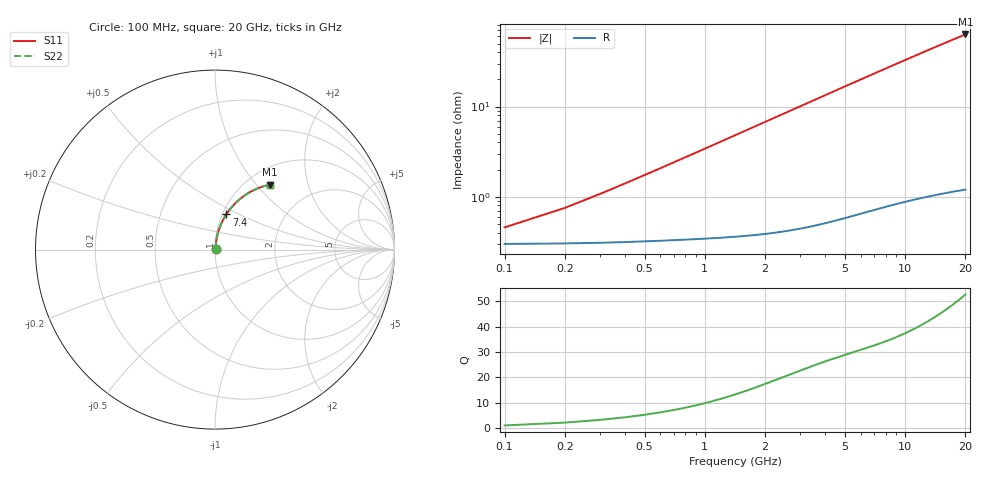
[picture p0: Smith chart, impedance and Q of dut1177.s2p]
! Touchstone file exported from HFSS 2026.1.0
!  File:  C:/ffzhzh/LocalFiles/Ansys_Project_Files/temp_train_BSMRDL_1177_1783176064_18472.aedt
!  Generated:  10:42:18 PM Jul  4, 2026
!  Design:  BSMRDL
!  Project:  temp_train_BSMRDL_1177_1783176064_18472
! Variables:
!  h_bsmrdl = 5.08um
!  h_ox = 20um
!  h_rdl = 5um
!  h_sub = 80um
!  h_tmrdl = 5um
!  h_tsv = 80um
!  h_via = 3um
!  l_bsmrdl = 464.41um
!  l_sub = 864.41um
!  l_tmrdl = 200um
!  m_sub = 200um
!  pitch = 58.47um
!  r_tsv = 6um
!  s_tmrdl = 10um
!  w_bsmrdl = 11.01um
!  w_sub = 500um
!  w_tmrdl = 12um
!  x_tsv_center1 = 206um
!  x_tsv_center2 = 681.42um
!  x_tsv_center3 = 893.42um
!  x_tsv_center4 = 1368.84um
!  x_tsv_center5 = 1580.84um
!  x_tsv_center6 = 2056.26um
# GHz S MA R 50.000000
! Terminal data exported
! Port[1] = BSM_RDL1_1_T1
! Port[2] = BSM_RDL1_1_T2
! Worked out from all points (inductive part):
!   200 points, 100 MHz to 20 GHz, reference 50 ohm
!   read as one part in series: L = 545 pH near 300 MHz
!   highest Q = 52.6 at 20 GHz (marker M1), where L = 501 pH
!   S11 on the Smith chart (normalised r, x): 100 MHz: 1.01, +0.01; 7.4 GHz: 1.04, +0.43; 20 GHz: 1.26, +1.18
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0.1  0.00422 44.7  0.997 -0.2  0.997 -0.2  0.00422 44.7
! Gamma 0 0 0 0
! Port Impedance 50 0 50 0
0.2  0.006676 62.6  0.997 -0.4  0.997 -0.4  0.006676 62.6
0.3  0.009423 70.3  0.9969 -0.7  0.9969 -0.7  0.009423 70.3
0.4  0.01225 74.3  0.9968 -0.9  0.9968 -0.9  0.01225 74.3
0.5  0.01511 76.7  0.9967 -1.1  0.9967 -1.1  0.01511 76.7
0.7  0.02084 79.4  0.9965 -1.5  0.9965 -1.5  0.02084 79.4
0.8  0.02371 80.1  0.9964 -1.8  0.9964 -1.8  0.02371 80.1
1  0.02946 81.1  0.9962 -2.2  0.9962 -2.2  0.02946 81.1
1.2  0.03521 81.6  0.9959 -2.6  0.9959 -2.6  0.03521 81.6
1.4  0.04096 81.9  0.9956 -3.1  0.9956 -3.1  0.04096 81.9
1.7  0.04957 82.0  0.9951 -3.7  0.9951 -3.7  0.04957 82.0
2  0.05816 81.8  0.9945 -4.4  0.9945 -4.4  0.05816 81.8
2.7  0.0781 81.0  0.9928 -5.9  0.9928 -5.9  0.0781 81.0
3.5  0.1006 79.7  0.9902 -7.6  0.9902 -7.6  0.1006 79.7
4.2  0.1201 78.4  0.9876 -9.1  0.9876 -9.1  0.1201 78.4
5  0.142 76.9  0.9842 -10.8  0.9842 -10.8  0.142 76.9
6.8  0.1899 73.4  0.975 -14.5  0.975 -14.5  0.1899 73.4
7.4  0.2054 72.3  0.9715 -15.7  0.9715 -15.7  0.2054 72.3
10.1  0.2723 67.1  0.9538 -21.1  0.9538 -21.1  0.2723 67.1
13.4  0.3471 61.0  0.9284 -27.4  0.9284 -27.4  0.3471 61.0
16.7  0.4138 55.3  0.9003 -33.3  0.9003 -33.3  0.4138 55.3
20  0.4722 49.9  0.871 -38.9  0.871 -38.9  0.4722 49.9
